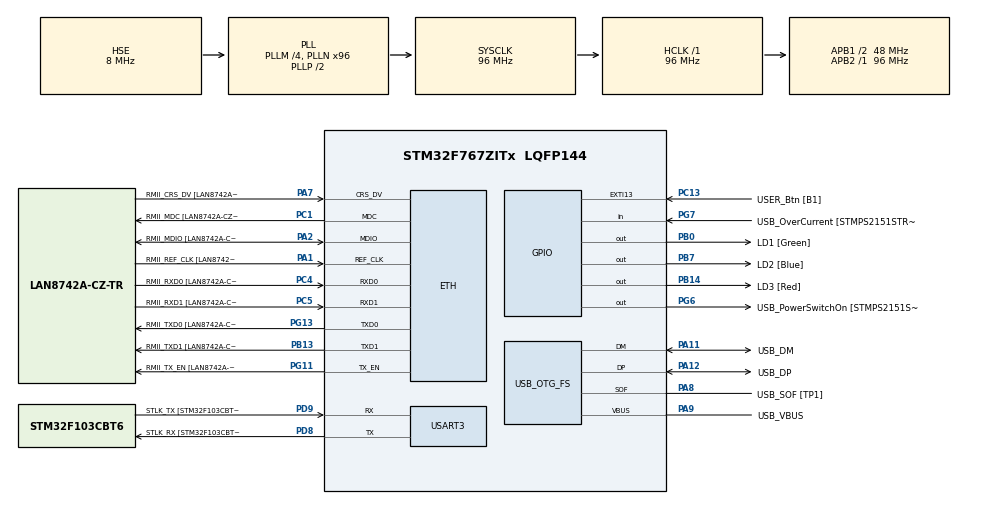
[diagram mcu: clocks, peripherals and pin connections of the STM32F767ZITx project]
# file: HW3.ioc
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Dma.Request0=USART3_RX
Dma.Request1=USART3_TX
Dma.USART3_RX.0.Direction=DMA_PERIPH_TO_MEMORY
Dma.USART3_RX.0.FIFOMode=DMA_FIFOMODE_DISABLE
Dma.USART3_RX.0.Instance=DMA1_Stream1
Dma.USART3_RX.0.MemDataAlignment=DMA_MDATAALIGN_BYTE
Dma.USART3_RX.0.MemInc=DMA_MINC_ENABLE
Dma.USART3_RX.0.Mode=DMA_NORMAL
Dma.USART3_RX.0.PeriphDataAlignment=DMA_PDATAALIGN_BYTE
Dma.USART3_RX.0.PeriphInc=DMA_PINC_DISABLE
Dma.USART3_RX.0.Priority=DMA_PRIORITY_LOW
Dma.USART3_TX.1.Direction=DMA_MEMORY_TO_PERIPH
Dma.USART3_TX.1.FIFOMode=DMA_FIFOMODE_DISABLE
Dma.USART3_TX.1.Instance=DMA1_Stream3
Dma.USART3_TX.1.MemDataAlignment=DMA_MDATAALIGN_BYTE
Dma.USART3_TX.1.MemInc=DMA_MINC_ENABLE
Dma.USART3_TX.1.Mode=DMA_NORMAL
Dma.USART3_TX.1.PeriphDataAlignment=DMA_PDATAALIGN_BYTE
Dma.USART3_TX.1.PeriphInc=DMA_PINC_DISABLE
Dma.USART3_TX.1.Priority=DMA_PRIORITY_LOW
ETH.MediaInterface=ETH_MEDIA_INTERFACE_RMII
ETH.PHY_Name=LAN8742A_PHY_ADDRESS
ETH.PHY_Value=0
ETH.PhyAddress=0
FREERTOS.Tasks01=defaultTask,0,128,StartDefaultTask,Default,NULL,Dynamic,NULL,NULL;myTask02,2,128,StartTask02,Default,NULL,Dynamic,NULL,NULL;myTask03,2,128,StartTask03,Default,NULL,Dynamic,NULL,NULL
Mcu.Family=STM32F7
Mcu.Name=STM32F767ZITx
Mcu.Package=LQFP144
NVIC.DMA1_Stream1_IRQn=true\:5\:0\:false\:false\:true\:true\:false\:true\:true
NVIC.DMA1_Stream3_IRQn=true\:5\:0\:false\:false\:true\:true\:false\:true\:true
NVIC.PriorityGroup=NVIC_PRIORITYGROUP_4
NVIC.TIM1_UP_TIM10_IRQn=true\:15\:0\:false\:false\:true\:false\:false\:true\:true
NVIC.TimeBase=TIM1_UP_TIM10_IRQn
NVIC.TimeBaseIP=TIM1
NVIC.USART3_IRQn=true\:5\:0\:false\:false\:true\:true\:true\:true\:true
PA1.GPIO_Label=RMII_REF_CLK [LAN8742A-CZ-TR_REFCLK0]
PA1.Mode=RMII
PA1.Signal=ETH_REF_CLK
PA10.GPIO_Label=USB_ID
PA10.Signal=USB_OTG_FS_ID
PA11.GPIO_Label=USB_DM
PA11.Mode=Device_Only
PA11.Signal=USB_OTG_FS_DM
PA12.GPIO_Label=USB_DP
PA12.Mode=Device_Only
PA12.Signal=USB_OTG_FS_DP
PA13.GPIO_Label=TMS
PA13.Mode=Serial_Wire
PA13.Signal=SYS_JTMS-SWDIO
PA14.GPIO_Label=TCK
PA14.Mode=Serial_Wire
PA14.Signal=SYS_JTCK-SWCLK
PA2.GPIO_Label=RMII_MDIO [LAN8742A-CZ-TR_MDIO]
PA2.Mode=RMII
PA2.Signal=ETH_MDIO
PA7.GPIO_Label=RMII_CRS_DV [LAN8742A-CZ-TR_CRS_DV]
PA7.Mode=RMII
PA7.Signal=ETH_CRS_DV
PA8.GPIO_Label=USB_SOF [TP1]
PA8.Mode=Activate_SOF_FS
PA8.Signal=USB_OTG_FS_SOF
PA9.GPIO_Label=USB_VBUS
PA9.Mode=Activate_VBUS
PA9.Signal=USB_OTG_FS_VBUS
PB0.GPIO_Label=LD1 [Green]
PB0.Signal=GPIO_Output
PB13.GPIO_Label=RMII_TXD1 [LAN8742A-CZ-TR_TXD1]
PB13.Mode=RMII
PB13.Signal=ETH_TXD1
PB14.GPIO_Label=LD3 [Red]
PB14.Signal=GPIO_Output
PB3.GPIO_Label=SWO
PB3.Signal=SYS_JTDO-SWO
PB7.GPIO_Label=LD2 [Blue]
PB7.Signal=GPIO_Output
PC1.GPIO_Label=RMII_MDC [LAN8742A-CZ-TR_MDC]
PC1.Mode=RMII
PC1.Signal=ETH_MDC
PC13.GPIO_Label=USER_Btn [B1]
PC13.Signal=GPXTI13
PC14/OSC32_IN.Mode=LSE-External-Oscillator
PC14/OSC32_IN.Signal=RCC_OSC32_IN
PC15/OSC32_OUT.Mode=LSE-External-Oscillator
PC15/OSC32_OUT.Signal=RCC_OSC32_OUT
PC4.GPIO_Label=RMII_RXD0 [LAN8742A-CZ-TR_RXD0]
PC4.Mode=RMII
PC4.Signal=ETH_RXD0
PC5.GPIO_Label=RMII_RXD1 [LAN8742A-CZ-TR_RXD1]
PC5.Mode=RMII
PC5.Signal=ETH_RXD1
PD8.GPIO_Label=STLK_RX [STM32F103CBT6_PA3]
PD8.Mode=Asynchronous
PD8.Signal=USART3_TX
PD9.GPIO_Label=STLK_TX [STM32F103CBT6_PA2]
PD9.Mode=Asynchronous
PD9.Signal=USART3_RX
PG11.GPIO_Label=RMII_TX_EN [LAN8742A-CZ-TR_TXEN]
PG11.Mode=RMII
PG11.Signal=ETH_TX_EN
PG13.GPIO_Label=RMII_TXD0 [LAN8742A-CZ-TR_TXD0]
PG13.Mode=RMII
PG13.Signal=ETH_TXD0
PG6.GPIO_Label=USB_PowerSwitchOn [STMPS2151STR_EN]
PG6.Signal=GPIO_Output
PG7.GPIO_Label=USB_OverCurrent [STMPS2151STR_FAULT]
PG7.Signal=GPIO_Input
PH0/OSC_IN.GPIO_Label=MCO [STM32F103CBT6_PA8]
PH0/OSC_IN.Mode=HSE-External-Clock-Source
PH0/OSC_IN.Signal=RCC_OSC_IN
PH1/OSC_OUT.Mode=HSE-External-Clock-Source
PH1/OSC_OUT.Signal=RCC_OSC_OUT
ProjectManager.HeapSize=0x200
ProjectManager.StackSize=0x400
ProjectManager.TargetToolchain=MDK-ARM V5.32
RCC.48MHZClocksFreq_Value=24000000
RCC.AHBFreq_Value=96000000
RCC.APB1CLKDivider=RCC_HCLK_DIV2
RCC.APB1Freq_Value=48000000
RCC.APB1TimFreq_Value=96000000
RCC.APB2Freq_Value=96000000
RCC.APB2TimFreq_Value=96000000
RCC.CortexFreq_Value=96000000
RCC.HCLKFreq_Value=96000000
RCC.HSE_VALUE=8000000
RCC.HSI_VALUE=16000000
RCC.PLLM=4
RCC.PLLMUL=RCC_PLL_MUL9
RCC.PLLN=96
RCC.PLLQ=4
RCC.PRESCALERUSB=RCC_USBCLKSOURCE_PLL_DIV1_5
RCC.SYSCLKFreq_VALUE=96000000
RCC.SYSCLKSource=RCC_SYSCLKSOURCE_PLLCLK
RCC.SYSCLKSourceVirtual=RCC_SYSCLKSOURCE_PLLCLK
RCC.USBFreq_Value=48000000
RCC.VCOOutputFreq_Value=192000000
USART3.VirtualMode-Asynchronous=VM_ASYNC
USB_OTG_FS.VirtualMode=Device_Only
VP_FREERTOS_VS_CMSIS_V1.Mode=CMSIS_V1
VP_SYS_VS_tim1.Mode=TIM1
board=NUCLEO-F767ZI

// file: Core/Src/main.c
/* USER CODE BEGIN Header */
/**
	* Amirreza Hosseini 9820363
  ******************************************************************************
  * @file           : main.c
  * @brief          : Main program body
  ******************************************************************************
  * @attention
  *
  * Copyright (c) 2022 STMicroelectronics.
  * All rights reserved.
  *
  * This software is licensed under terms that can be found in the LICENSE file
  * in the root directory of this software component.
  * If no LICENSE file comes with this software, it is provided AS-IS.
  *
  ******************************************************************************
  */
/* USER CODE END Header */
#include "main.h"
#include "cmsis_os.h"

/* USER CODE BEGIN Includes */
#include <string.h>
#include <stdlib.h>

/* USER CODE END Includes */

ETH_HandleTypeDef heth;

UART_HandleTypeDef huart3;
DMA_HandleTypeDef hdma_usart3_rx;
DMA_HandleTypeDef hdma_usart3_tx;

PCD_HandleTypeDef hpcd_USB_OTG_FS;

osThreadId defaultTaskHandle;
osThreadId myTask02Handle;
osThreadId myTask03Handle;

void SystemClock_Config(void);
static void MX_GPIO_Init(void);
static void MX_DMA_Init(void);
static void MX_ETH_Init(void);
static void MX_USART3_UART_Init(void);
static void MX_USB_OTG_FS_PCD_Init(void);
void StartDefaultTask(void const * argument);
void StartTask02(void const * argument);
void StartTask03(void const * argument);

/* USER CODE BEGIN 0 */

char buf[4]; //global var
int D;
int T;
int E;

void HAL_UART_RxCpltCallback(UART_HandleTypeDef *huart)
{
	char CMD = buf[0];

	int flag_ERROR = 0;

	switch(CMD)
    {
				case 'E':
				{
					unsigned Data[1];
					Data[0] = buf[1];

					switch(Data[0])
					{
						case 0:
						{
							E=0;
							break;
						}
						case 1:
						{
							E=1;
							break;
						}
						default:
						{
							flag_ERROR=1;
						}
					}

				}

        case 'T':
				{
						char Data[5];
						Data[0]=buf[1];
						Data[1]=buf[2];
						Data[2]=buf[3];
						Data[3] = '\0';

						int data = atoi(Data);

						if(data >= 500 && data <=4000)
						{
							T = data;
						}
						else
						{
							flag_ERROR = 1;
						}

            break;
				}

				case 'D':
				{
					char Data[2];
					memcpy( Data, &buf[1], 2* sizeof( char ) );

					int data = atoi(Data);

					if(data >= 20 && data <=80)
						{
							D = data;
						}
						else
						{
							flag_ERROR = 1;
						}
					break;
				}
				default:
				{

					flag_ERROR=1;
					break;
				}

			}

		if( flag_ERROR ==1)
		{
					HAL_GPIO_WritePin(LD3_GPIO_Port, LD3_Pin, GPIO_PIN_SET);
					HAL_Delay(3000);
					HAL_GPIO_WritePin(LD3_GPIO_Port, LD3_Pin, GPIO_PIN_RESET);
					char message[6] = "ERROR";
					HAL_UART_Transmit(&huart3, (uint8_t *)message, 5, 100000);
					flag_ERROR = 0;
		}

}

/* USER CODE END 0 */

int main(void)
{

  /* MCU Configuration--------------------------------------------------------*/

  /* Reset of all peripherals, Initializes the Flash interface and the Systick. */
  HAL_Init();

  /* Configure the system clock */
  SystemClock_Config();

  /* Initialize all configured peripherals */
  MX_GPIO_Init();
  MX_DMA_Init();
  MX_ETH_Init();
  MX_USART3_UART_Init();
  MX_USB_OTG_FS_PCD_Init();

  /* Create the thread(s) */
  /* definition and creation of defaultTask */
  osThreadDef(defaultTask, StartDefaultTask, osPriorityNormal, 0, 128);
  defaultTaskHandle = osThreadCreate(osThread(defaultTask), NULL);

  /* definition and creation of myTask02 */
  osThreadDef(myTask02, StartTask02, osPriorityHigh, 0, 128);
  myTask02Handle = osThreadCreate(osThread(myTask02), NULL);

  /* definition and creation of myTask03 */
  osThreadDef(myTask03, StartTask03, osPriorityHigh, 0, 128);
  myTask03Handle = osThreadCreate(osThread(myTask03), NULL);

  /* Start scheduler */
  osKernelStart();

  /* We should never get here as control is now taken by the scheduler */
  /* Infinite loop */
  while (1)
  {

  }
}

void SystemClock_Config(void)
{
  RCC_OscInitTypeDef RCC_OscInitStruct = {0};
  RCC_ClkInitTypeDef RCC_ClkInitStruct = {0};

  /** Configure LSE Drive Capability
  */
  HAL_PWR_EnableBkUpAccess();

  /** Configure the main internal regulator output voltage
  */
  __HAL_RCC_PWR_CLK_ENABLE();
  __HAL_PWR_VOLTAGESCALING_CONFIG(PWR_REGULATOR_VOLTAGE_SCALE3);

  /** Initializes the RCC Oscillators according to the specified parameters
  * in the RCC_OscInitTypeDef structure.
  */
  RCC_OscInitStruct.OscillatorType = RCC_OSCILLATORTYPE_HSE;
  RCC_OscInitStruct.HSEState = RCC_HSE_BYPASS;
  RCC_OscInitStruct.PLL.PLLState = RCC_PLL_ON;
  RCC_OscInitStruct.PLL.PLLSource = RCC_PLLSOURCE_HSE;
  RCC_OscInitStruct.PLL.PLLM = 4;
  RCC_OscInitStruct.PLL.PLLN = 96;
  RCC_OscInitStruct.PLL.PLLP = RCC_PLLP_DIV2;
  RCC_OscInitStruct.PLL.PLLQ = 4;
  RCC_OscInitStruct.PLL.PLLR = 2;
  if (HAL_RCC_OscConfig(&RCC_OscInitStruct) != HAL_OK)
  {
    Error_Handler();
  }

  /** Activate the Over-Drive mode
  */
  if (HAL_PWREx_EnableOverDrive() != HAL_OK)
  {
    Error_Handler();
  }

  /** Initializes the CPU, AHB and APB buses clocks
  */
  RCC_ClkInitStruct.ClockType = RCC_CLOCKTYPE_HCLK|RCC_CLOCKTYPE_SYSCLK
                              |RCC_CLOCKTYPE_PCLK1|RCC_CLOCKTYPE_PCLK2;
  RCC_ClkInitStruct.SYSCLKSource = RCC_SYSCLKSOURCE_PLLCLK;
  RCC_ClkInitStruct.AHBCLKDivider = RCC_SYSCLK_DIV1;
  RCC_ClkInitStruct.APB1CLKDivider = RCC_HCLK_DIV2;
  RCC_ClkInitStruct.APB2CLKDivider = RCC_HCLK_DIV1;

  if (HAL_RCC_ClockConfig(&RCC_ClkInitStruct, FLASH_LATENCY_3) != HAL_OK)
  {
    Error_Handler();
  }
}

static void MX_ETH_Init(void)
{

   static uint8_t MACAddr[6];

  heth.Instance = ETH;
  heth.Init.AutoNegotiation = ETH_AUTONEGOTIATION_ENABLE;
  heth.Init.Speed = ETH_SPEED_100M;
  heth.Init.DuplexMode = ETH_MODE_FULLDUPLEX;
  heth.Init.PhyAddress = LAN8742A_PHY_ADDRESS;
  MACAddr[0] = 0x00;
  MACAddr[1] = 0x80;
  MACAddr[2] = 0xE1;
  MACAddr[3] = 0x00;
  MACAddr[4] = 0x00;
  MACAddr[5] = 0x00;
  heth.Init.MACAddr = &MACAddr[0];
  heth.Init.RxMode = ETH_RXPOLLING_MODE;
  heth.Init.ChecksumMode = ETH_CHECKSUM_BY_HARDWARE;
  heth.Init.MediaInterface = ETH_MEDIA_INTERFACE_RMII;

  if (HAL_ETH_Init(&heth) != HAL_OK)
  {
    Error_Handler();
  }

}

static void MX_USART3_UART_Init(void)
{

  huart3.Instance = USART3;
  huart3.Init.BaudRate = 115200;
  huart3.Init.WordLength = UART_WORDLENGTH_8B;
  huart3.Init.StopBits = UART_STOPBITS_1;
  huart3.Init.Parity = UART_PARITY_NONE;
  huart3.Init.Mode = UART_MODE_TX_RX;
  huart3.Init.HwFlowCtl = UART_HWCONTROL_NONE;
  huart3.Init.OverSampling = UART_OVERSAMPLING_16;
  huart3.Init.OneBitSampling = UART_ONE_BIT_SAMPLE_DISABLE;
  huart3.AdvancedInit.AdvFeatureInit = UART_ADVFEATURE_NO_INIT;
  if (HAL_UART_Init(&huart3) != HAL_OK)
  {
    Error_Handler();
  }

}

static void MX_USB_OTG_FS_PCD_Init(void)
{

  hpcd_USB_OTG_FS.Instance = USB_OTG_FS;
  hpcd_USB_OTG_FS.Init.dev_endpoints = 6;
  hpcd_USB_OTG_FS.Init.speed = PCD_SPEED_FULL;
  hpcd_USB_OTG_FS.Init.dma_enable = DISABLE;
  hpcd_USB_OTG_FS.Init.phy_itface = PCD_PHY_EMBEDDED;
  hpcd_USB_OTG_FS.Init.Sof_enable = ENABLE;
  hpcd_USB_OTG_FS.Init.low_power_enable = DISABLE;
  hpcd_USB_OTG_FS.Init.lpm_enable = DISABLE;
  hpcd_USB_OTG_FS.Init.vbus_sensing_enable = ENABLE;
  hpcd_USB_OTG_FS.Init.use_dedicated_ep1 = DISABLE;
  if (HAL_PCD_Init(&hpcd_USB_OTG_FS) != HAL_OK)
  {
    Error_Handler();
  }

}

static void MX_DMA_Init(void)
{

  /* DMA controller clock enable */
  __HAL_RCC_DMA1_CLK_ENABLE();

  /* DMA interrupt init */
  /* DMA1_Stream1_IRQn interrupt configuration */
  HAL_NVIC_SetPriority(DMA1_Stream1_IRQn, 5, 0);
  HAL_NVIC_EnableIRQ(DMA1_Stream1_IRQn);
  /* DMA1_Stream3_IRQn interrupt configuration */
  HAL_NVIC_SetPriority(DMA1_Stream3_IRQn, 5, 0);
  HAL_NVIC_EnableIRQ(DMA1_Stream3_IRQn);

}

static void MX_GPIO_Init(void)
{
  GPIO_InitTypeDef GPIO_InitStruct = {0};

  /* GPIO Ports Clock Enable */
  __HAL_RCC_GPIOC_CLK_ENABLE();
  __HAL_RCC_GPIOH_CLK_ENABLE();
  __HAL_RCC_GPIOA_CLK_ENABLE();
  __HAL_RCC_GPIOB_CLK_ENABLE();
  __HAL_RCC_GPIOD_CLK_ENABLE();
  __HAL_RCC_GPIOG_CLK_ENABLE();

  /*Configure GPIO pin Output Level */
  HAL_GPIO_WritePin(GPIOB, LD1_Pin|LD3_Pin|LD2_Pin, GPIO_PIN_RESET);

  /*Configure GPIO pin Output Level */
  HAL_GPIO_WritePin(USB_PowerSwitchOn_GPIO_Port, USB_PowerSwitchOn_Pin, GPIO_PIN_RESET);

  /*Configure GPIO pin : USER_Btn_Pin */
  GPIO_InitStruct.Pin = USER_Btn_Pin;
  GPIO_InitStruct.Mode = GPIO_MODE_IT_RISING;
  GPIO_InitStruct.Pull = GPIO_NOPULL;
  HAL_GPIO_Init(USER_Btn_GPIO_Port, &GPIO_InitStruct);

  /*Configure GPIO pins : LD1_Pin LD3_Pin LD2_Pin */
  GPIO_InitStruct.Pin = LD1_Pin|LD3_Pin|LD2_Pin;
  GPIO_InitStruct.Mode = GPIO_MODE_OUTPUT_PP;
  GPIO_InitStruct.Pull = GPIO_NOPULL;
  GPIO_InitStruct.Speed = GPIO_SPEED_FREQ_LOW;
  HAL_GPIO_Init(GPIOB, &GPIO_InitStruct);

  /*Configure GPIO pin : USB_PowerSwitchOn_Pin */
  GPIO_InitStruct.Pin = USB_PowerSwitchOn_Pin;
  GPIO_InitStruct.Mode = GPIO_MODE_OUTPUT_PP;
  GPIO_InitStruct.Pull = GPIO_NOPULL;
  GPIO_InitStruct.Speed = GPIO_SPEED_FREQ_LOW;
  HAL_GPIO_Init(USB_PowerSwitchOn_GPIO_Port, &GPIO_InitStruct);

  /*Configure GPIO pin : USB_OverCurrent_Pin */
  GPIO_InitStruct.Pin = USB_OverCurrent_Pin;
  GPIO_InitStruct.Mode = GPIO_MODE_INPUT;
  GPIO_InitStruct.Pull = GPIO_NOPULL;
  HAL_GPIO_Init(USB_OverCurrent_GPIO_Port, &GPIO_InitStruct);

}

void StartDefaultTask(void const * argument)
{
  /* USER CODE BEGIN 5 */
  /* Infinite loop */
  for(;;)
  {
      HAL_UART_Receive_DMA(&huart3, (uint8_t *)buf, 3);
    	osDelay(1);
  }
  /* USER CODE END 5 */
}

void StartTask02(void const * argument)
{
  /* USER CODE BEGIN StartTask02 */
  /* Infinite loop */
  for(;;)
  {
		if( E==1)
		{
			HAL_GPIO_WritePin(LD2_GPIO_Port, LD2_Pin, GPIO_PIN_SET);
			osDelay(T * D/100);
			HAL_GPIO_WritePin(LD2_GPIO_Port, LD2_Pin, GPIO_PIN_RESET);
			osDelay(T * ((100 - D)/100));
		}

  }
  /* USER CODE END StartTask02 */
}

void StartTask03(void const * argument)
{
  /* USER CODE BEGIN StartTask03 */
  /* Infinite loop */
  for(;;)
  {

	if(HAL_GPIO_ReadPin(USER_Btn_GPIO_Port, USER_Btn_Pin) == GPIO_PIN_SET)
	{
		char message[12] = "Key Pressed";
		HAL_UART_Transmit(&huart3, (uint8_t *)message, 11, 100000);

		for(int i = 0 ; i<3; i++)
		{
			HAL_GPIO_WritePin(LD2_GPIO_Port, LD2_Pin, GPIO_PIN_SET);
			osDelay(500);
			HAL_GPIO_WritePin(LD2_GPIO_Port, LD2_Pin, GPIO_PIN_RESET);
			osDelay(500);
		}

	}
    	osDelay(1);
  }
  /* USER CODE END StartTask03 */
}

void HAL_TIM_PeriodElapsedCallback(TIM_HandleTypeDef *htim)
{
  if (htim->Instance == TIM1) {
    HAL_IncTick();
  }
}

void Error_Handler(void)
{
  __disable_irq();
  while (1)
  {
  }
}
